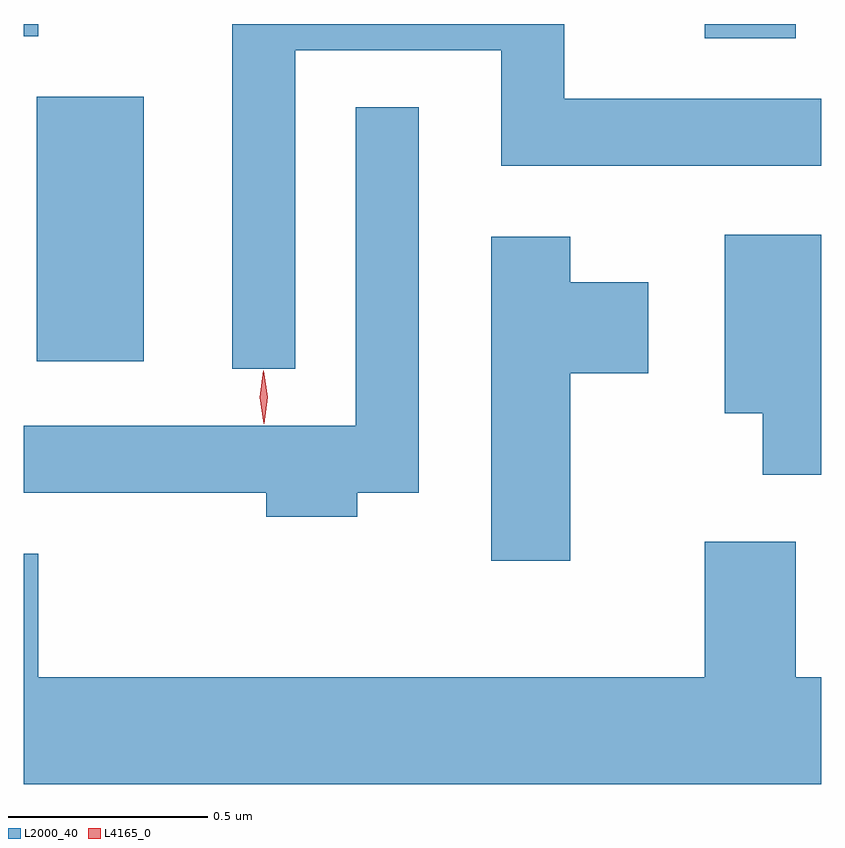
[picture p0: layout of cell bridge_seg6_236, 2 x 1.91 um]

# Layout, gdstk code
import gdstk
lib = gdstk.Library(unit=1e-6, precision=1e-09)
def R(c, l, rs):  # rectangles x0, y0, x1, y1
    for r in rs: c.add(gdstk.rectangle(r[:2], r[2:], *l))
def P(c, l, *ps):  # polygons
    for p in ps: c.add(gdstk.Polygon(p, *l))
L2000_40 = (2000, 40)
L4165_0 = (4165, 0)

bridge_seg6_236 = lib.new_cell('bridge_seg6_236')
R(bridge_seg6_236, L2000_40, [(1142.116,1562.196,1142.384,1562.859), (1143.791,1563.006,1144.019,1563.042), (1142.083,1563.011,1142.119,1563.042)])
P(bridge_seg6_236, L2000_40, [(1142.764,1562.976),(1143.281,1562.976),(1143.281,1562.686),(1144.083,1562.686),(1144.083,1562.854),(1143.439,1562.854),(1143.439,1563.042),(1142.606,1563.042),(1142.606,1562.178),(1142.764,1562.178)],
  [(1142.919,1561.866),(1143.074,1561.866),(1143.074,1562.833),(1142.916,1562.833),(1142.916,1562.034),(1142.083,1562.034),(1142.083,1561.866),(1142.691,1561.866),(1142.691,1561.806),(1142.919,1561.806)],
  [(1144.083,1562.514),(1143.841,1562.514),(1143.841,1562.066),(1143.936,1562.066),(1143.936,1561.911),(1144.083,1561.911)],
  [(1143.454,1562.166),(1143.649,1562.166),(1143.649,1562.394),(1143.454,1562.394),(1143.454,1562.509),(1143.256,1562.509),(1143.256,1561.696),(1143.454,1561.696)],
  [(1144.083,1561.404),(1144.019,1561.404),(1144.019,1561.744),(1143.791,1561.744),(1143.791,1561.404),(1142.119,1561.404),(1142.119,1561.714),(1142.083,1561.714),(1142.083,1561.136),(1144.083,1561.136)])
P(bridge_seg6_236, L4165_0, [(1142.685,1562.04),(1142.685,1562.04),(1142.675,1562.106),(1142.684,1562.172),(1142.685,1562.173),(1142.685,1562.172),(1142.695,1562.106),(1142.686,1562.04)])

lib.write_gds('bridge_seg6_236.gds')
